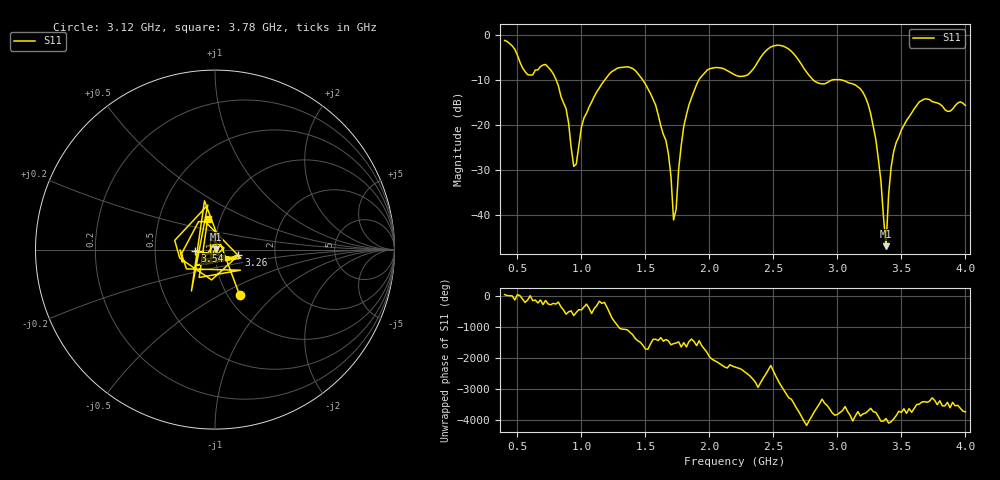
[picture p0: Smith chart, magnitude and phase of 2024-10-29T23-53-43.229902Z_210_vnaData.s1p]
!Created with skrf (http://scikit-rf.org).
# Hz S RI R 50.0
!freq ReS11 ImS11
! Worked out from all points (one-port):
!   181 points, 400 MHz to 4 GHz, reference 50 ohm
!   lowest |S11| = -46.8 dB at 3.38 GHz (marker M1), VSWR 1.01, Z = 50.4 + j0.141 ohm
!   |S11| at or under -10 dB: 802.5 MHz to 1.183 GHz (380.7 MHz wide, 38.3 % of centre); 1.48 GHz to 1.917 GHz (437.8 MHz wide, 25.8 % of centre); 3.032 GHz to end of sweep (the widest 3 of 4)
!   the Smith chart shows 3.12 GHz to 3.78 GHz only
!   S11 on the Smith chart (normalised r, x): 3.12 GHz: 1.13, -0.62; 3.26 GHz: 1.30, -0.08; 3.54 GHz: 0.80, -0.01; 3.78 GHz: 0.87, +0.31
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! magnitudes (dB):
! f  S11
! 400 MHz  -1.2
! 580 MHz  -8.8
! 740 MHz  -7.2
! 860 MHz  -15.1
! 940 MHz  -29.2
! 1.02 GHz  -18.4
! 1.3 GHz  -7.3
! 1.58 GHz  -15.6
! 1.68 GHz  -26.4
! 1.72 GHz  -41.0
! 1.74 GHz  -38.7
! 1.76 GHz  -29.7
! 1.8 GHz  -20.2
! 1.92 GHz  -9.9
! 2.2 GHz  -8.9
! 2.5 GHz  -2.5
! 2.66 GHz  -4.2
! 2.84 GHz  -10.5
! 3.1 GHz  -10.7
! 3.12 GHz  -10.9
! 3.26 GHz  -17.5
! 3.34 GHz  -32.4
! 3.38 GHz  -46.8
! 3.42 GHz  -29.3
! 3.54 GHz  -19.0
! 3.56 GHz  -18.2
! 3.78 GHz  -15.1
! 4 GHz  -15.7
